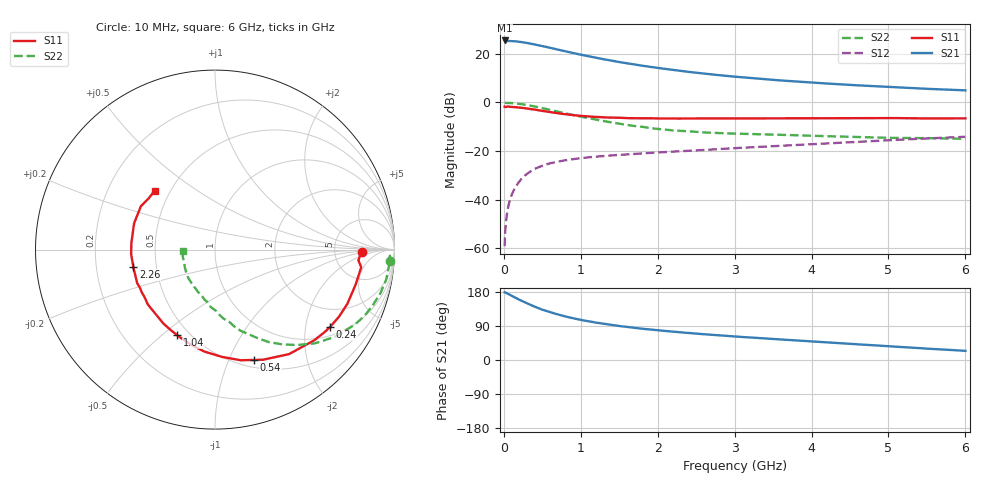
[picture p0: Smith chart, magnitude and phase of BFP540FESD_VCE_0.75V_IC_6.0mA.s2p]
! Infineon Technologies  Discrete & RF Semiconductors
! BFP540FESD
! VCE = 0.75 V,  IC =  6.0 mA
! Common Emitter S-Parameters:  Nov 2015
# GHz  S  MA  R  50
!  f  S11  S21  S12  S22
! GHz  MAG  ANG  MAG  ANG  MAG  ANG  MAG  ANG
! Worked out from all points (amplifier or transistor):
!   210 points, 10 MHz to 6 GHz, reference 50 ohm
!   highest |S21| = 25.5 dB at 10 MHz (marker M1)
!   |S21| within 3 dB of that: start of sweep to 595.3 MHz
!   unconditionally stable (mu >= 1): 2.53 GHz to end of sweep
!   at 185 MHz: K = 0.09, MSG = 29.1 dB, |S12| = -33.3 dB
!   at 1.52 GHz: K = 0.70, MSG = 19.0 dB, |S12| = -21.5 dB
!   at 6 GHz: K = 1.26, MAG = 6.5 dB, |S12| = -14.2 dB
!   S11 on the Smith chart (normalised r, x): 10 MHz: 9.88, -0.68; 240 MHz: 1.28, -2.73; 540 MHz: 0.58, -1.24; 1.04 GHz: 0.43, -0.56; 2.26 GHz: 0.37, -0.09; 6 GHz: 0.41, +0.35
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0.01  0.817 -0.8  18.81 178.7  0.0011 83.7  0.9786 -3.8
0.02  0.801 -4.3  18.13 178.2  0.0025 96.5  0.9751 -2.0
0.05  0.8207 -6.9  18.39 175.1  0.0063 85.2  0.9748 -4.9
0.15  0.7969 -22.3  18.12 164.5  0.0179 79.9  0.9533 -14.7
0.24  0.7722 -34.0  17.32 155.3  0.028 73.9  0.9152 -23.0
0.3  0.7493 -42.4  16.76 149.4  0.0337 69.4  0.8842 -28.2
0.4  0.7135 -54.7  15.63 140.7  0.0427 63.6  0.8263 -36.1
0.5  0.6696 -66.4  14.49 132.8  0.0498 58.6  0.762 -43.3
0.54  0.6522 -70.5  13.97 130.2  0.0522 57.0  0.7367 -45.6
0.6  0.6327 -77.0  13.26 126.0  0.0558 54.9  0.7012 -49.3
0.8  0.5713 -95.9  11.26 114.7  0.0645 49.1  0.594 -60.0
0.9  0.5478 -103.7  10.37 110.0  0.0678 46.7  0.5486 -64.2
1.02  0.5245 -112.4  9.442 105.2  0.0718 44.8  0.5019 -68.9
1.04  0.5212 -113.8  9.303 104.4  0.0724 44.5  0.4947 -69.8
1.2  0.5027 -124.8  8.25 98.6  0.0765 42.5  0.4415 -75.9
1.5  0.4832 -140.7  6.768 89.7  0.0832 40.3  0.3642 -86.1
2.02  0.4666 -161.6  5.075 78.0  0.0935 38.6  0.2834 -102.1
2.26  0.4652 -168.0  4.526 73.8  0.0982 38.3  0.2618 -107.9
3.1  0.4668 173.8  3.283 60.7  0.1164 37.4  0.2256 -126.3
4.1  0.4732 160.6  2.5 47.8  0.1412 35.5  0.2037 -142.1
5.1  0.4755 148.3  2.047 35.1  0.1694 30.6  0.1857 -158.4
6  0.4697 135.6  1.768 24.1  0.1958 25.4  0.1783 -176.8
